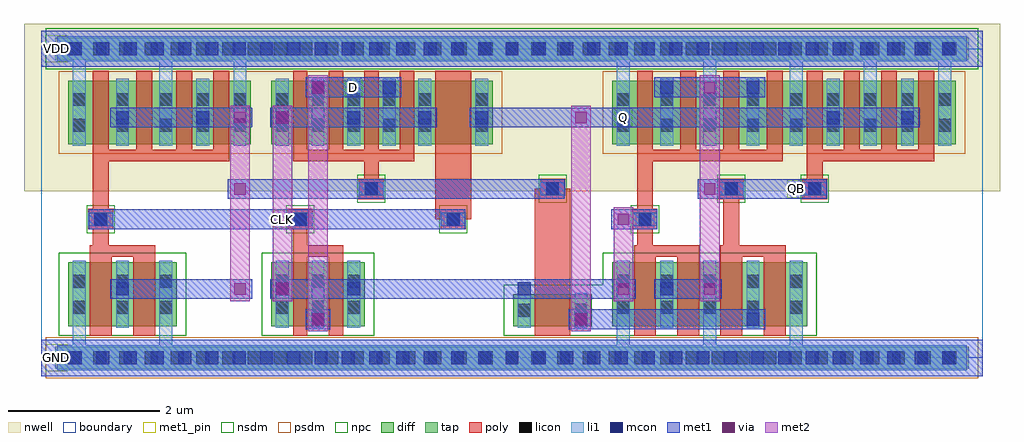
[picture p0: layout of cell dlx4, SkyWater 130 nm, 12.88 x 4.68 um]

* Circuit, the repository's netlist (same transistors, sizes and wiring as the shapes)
** sch_path: /foss/designs/dlx4.sch
.subckt dlx4 D VDD GND CLK QB Q
*.PININFO D:I VDD:B GND:B CLK:I QB:O Q:O
XM1 D CLKB net1 VDD sky130_fd_pr__pfet_01v8 L=0.19 W=3.36 nf=4
XM2 D CLK net1 GND sky130_fd_pr__nfet_01v8 L=0.19 W=1.68 nf=2
XM3 CLKB CLK VDD VDD sky130_fd_pr__pfet_01v8 L=0.21 W=3.36 nf=4
XM4 CLKB CLK GND GND sky130_fd_pr__nfet_01v8 L=0.29 W=1.68 nf=2
XM9 QB net1 VDD VDD sky130_fd_pr__pfet_01v8 L=0.21 W=3.36 nf=4
XM8 QB net1 GND GND sky130_fd_pr__nfet_01v8 L=0.29 W=1.68 nf=2
XM5 Q QB VDD VDD sky130_fd_pr__pfet_01v8 L=0.21 W=3.36 nf=4
XM6 Q QB GND GND sky130_fd_pr__nfet_01v8 L=0.29 W=1.68 nf=2
XM7 net1 CLK Q VDD sky130_fd_pr__pfet_01v8 L=0.47 W=0.84 nf=1
XM10 net1 CLKB Q GND sky130_fd_pr__nfet_01v8 L=0.47 W=0.42 nf=1
.ends

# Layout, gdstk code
import gdstk
lib = gdstk.Library(unit=1e-6, precision=1e-09)
def R(c, l, rs):  # rectangles x0, y0, x1, y1
    for r in rs: c.add(gdstk.rectangle(r[:2], r[2:], *l))
def A(c, l, x, y, w, h, nx, ny, dx, dy):  # array of equal rectangles
    R(c, l, [(x+i*dx, y+j*dy, x+i*dx+w, y+j*dy+h) for i in range(nx) for j in range(ny)])
nwell = (64, 20)
diff = (65, 20)
tap = (65, 44)
poly = (66, 20)
licon = (66, 44)
li1 = (67, 20)
mcon = (67, 44)
met1_pin = (68, 16)
met1 = (68, 20)
via = (68, 44)
met2 = (69, 20)
nsdm = (93, 44)
psdm = (94, 20)
npc = (95, 20)
boundary = (235, 4)

dlx4 = lib.new_cell('dlx4')
R(dlx4, nwell, [(-0.23,2.2,12.65,4.41)])
R(dlx4, diff, [(0.355,0.42,1.785,1.26), (3.035,0.42,4.265,1.26), (6.225,0.42,7.265,0.84), (7.535,0.42,10.105,1.26), (0.355,2.82,2.765,3.66), (3.035,2.82,5.955,3.66), (7.535,2.82,12.065,3.66)])
R(dlx4, tap, [(0.18,-0.145,12.24,0.145), (0.18,3.935,12.24,4.225)])
A(dlx4, poly, 7.82, 0.29, 0.29, 1.045, 4, 1, 0.57, 0)
A(dlx4, poly, 3.32, 2.745, 0.19, 1.045, 4, 1, 0.47, 0)
A(dlx4, poly, 7.86, 2.745, 0.21, 1.045, 4, 1, 0.57, 0)
A(dlx4, poly, 10.1, 2.745, 0.21, 1.045, 4, 1, 0.49, 0)
R(dlx4, poly, [(0.64,0.29,0.93,1.335), (1.21,0.29,1.5,1.335), (3.32,0.29,3.51,1.335), (3.79,0.29,3.98,1.335), (6.51,0.29,6.98,2.23), (0.64,1.335,1.5,1.485), (3.32,1.335,3.98,1.485), (7.82,1.335,8.68,1.485), (8.96,1.335,9.82,1.485), (0.68,1.485,0.89,1.695), (3.32,1.485,3.51,1.695), (7.86,1.485,8.07,1.695), (9,1.485,9.21,2.095), (0.62,1.695,0.95,1.965), (3.25,1.695,3.58,1.965), (5.27,1.695,5.6,1.83), (7.8,1.695,8.13,1.965), (5.2,1.83,5.67,3.79), (0.68,1.965,0.89,2.595), (7.86,1.965,8.07,2.595), (4.19,2.095,4.52,2.365), (8.94,2.095,9.27,2.365), (10.04,2.095,10.37,2.365), (6.58,2.23,6.91,2.365), (4.26,2.365,4.45,2.595), (10.1,2.365,10.31,2.595), (0.68,2.595,2.48,2.745), (3.32,2.595,4.92,2.745), (7.86,2.595,9.78,2.745), (10.1,2.595,11.78,2.745), (0.68,2.745,0.89,3.79), (1.25,2.745,1.46,3.79), (1.78,2.745,1.99,3.79), (2.27,2.745,2.48,3.79)])
A(dlx4, licon, 0.345, -0.085, 0.17, 0.17, 35, 2, 0.34, 4.08)
A(dlx4, licon, 0.415, 0.585, 0.17, 0.17, 3, 2, 0.57, 0.34)
A(dlx4, licon, 3.095, 0.585, 0.17, 0.17, 3, 2, 0.47, 0.34)
A(dlx4, licon, 7.595, 0.585, 0.17, 0.17, 5, 2, 0.57, 0.34)
A(dlx4, licon, 0.415, 2.985, 0.17, 0.17, 3, 2, 0.57, 0.34)
A(dlx4, licon, 3.095, 2.985, 0.17, 0.17, 5, 2, 0.47, 0.34)
A(dlx4, licon, 7.595, 2.985, 0.17, 0.17, 5, 2, 0.57, 0.34)
A(dlx4, licon, 10.365, 2.985, 0.17, 0.17, 4, 2, 0.49, 0.34)
R(dlx4, licon, [(6.285,0.545,6.455,0.715), (7.035,0.545,7.205,0.715), (0.7,1.745,0.87,1.915), (3.33,1.745,3.5,1.915), (5.35,1.745,5.52,1.915), (7.88,1.745,8.05,1.915), (4.27,2.145,4.44,2.315), (6.66,2.145,6.83,2.315), (9.02,2.145,9.19,2.315), (10.12,2.145,10.29,2.315), (2.045,2.985,2.215,3.155), (2.535,2.985,2.705,3.155), (5.725,2.985,5.895,3.155), (2.045,3.325,2.215,3.495), (2.535,3.325,2.705,3.495), (5.725,3.325,5.895,3.495)])
A(dlx4, li1, 7.595, 0.165, 0.17, 1.115, 3, 2, 1.14, 2.635)
A(dlx4, li1, 3.095, 0.4, 0.17, 0.88, 3, 1, 0.47, 0)
A(dlx4, li1, 3.095, 2.8, 0.17, 0.88, 5, 1, 0.47, 0)
R(dlx4, li1, [(0.21,-0.165,12.21,0.165), (0.415,0.165,0.585,1.28), (1.555,0.165,1.725,1.28), (0.985,0.4,1.155,1.28), (6.285,0.4,6.455,0.995), (7.035,0.4,7.205,0.86), (8.165,0.4,8.335,1.28), (9.305,0.4,9.475,1.28), (0.62,1.745,0.95,1.915), (3.25,1.745,3.58,1.915), (5.27,1.745,5.6,1.915), (7.8,1.745,8.13,1.915), (4.19,2.145,4.52,2.315), (6.58,2.145,6.91,2.315), (8.94,2.145,9.27,2.315), (10.04,2.145,10.37,2.315), (0.415,2.8,0.585,3.915), (0.985,2.8,1.155,3.68), (1.555,2.8,1.725,3.915), (2.045,2.8,2.215,3.68), (2.535,2.8,2.705,3.915), (5.725,2.8,5.895,3.68), (8.165,2.8,8.335,3.68), (9.305,2.8,9.475,3.68), (10.365,2.8,10.535,3.68), (10.855,2.8,11.025,3.915), (11.345,2.8,11.515,3.68), (11.835,2.8,12.005,3.915), (0.21,3.915,12.21,4.245)])
A(dlx4, mcon, 0.365, -0.085, 0.17, 0.17, 33, 2, 0.36, 4.08)
A(dlx4, mcon, 3.095, 3.085, 0.17, 0.17, 3, 1, 0.94, 0)
R(dlx4, mcon, [(3.565,0.425,3.735,0.595), (7.035,0.425,7.205,0.595), (9.305,0.425,9.475,0.595), (0.985,0.825,1.155,0.995), (3.095,0.825,3.265,0.995), (4.035,0.825,4.205,0.995), (6.285,0.825,6.455,0.995), (8.165,0.825,8.335,0.995), (0.7,1.745,0.87,1.915), (3.33,1.745,3.5,1.915), (5.35,1.745,5.52,1.915), (7.88,1.745,8.05,1.915), (4.27,2.145,4.44,2.315), (6.66,2.145,6.83,2.315), (9.02,2.145,9.19,2.315), (10.12,2.145,10.29,2.315), (0.985,3.085,1.155,3.255), (2.045,3.085,2.215,3.255), (5.725,3.085,5.895,3.255), (10.365,3.085,10.535,3.255), (11.345,3.085,11.515,3.255), (3.565,3.485,3.735,3.655), (4.505,3.485,4.675,3.655), (8.165,3.485,8.335,3.655), (9.305,3.485,9.475,3.655)])
R(dlx4, met1_pin, [(0.05,-0.18,0.35,0.18), (3.065,1.715,3.295,1.945), (9.845,2.115,10.075,2.345), (7.565,3.055,7.795,3.285), (4.005,3.455,4.235,3.685), (0.05,3.9,0.35,4.26)])
R(dlx4, met1, [(0,-0.24,12.42,0.24), (3.49,0.38,3.81,0.64), (6.96,0.38,9.55,0.64), (0.91,0.78,2.78,1.04), (3.02,0.78,7.84,1.04), (8.09,0.78,8.98,1.04), (0.625,1.7,5.595,1.96), (7.52,1.7,8.125,1.96), (2.46,2.1,6.905,2.36), (8.66,2.1,10.365,2.36), (0.91,3.04,2.78,3.3), (3.02,3.04,5.22,3.3), (5.65,3.04,11.59,3.3), (3.49,3.44,4.75,3.7), (8.09,3.44,9.55,3.7), (0,3.84,12.42,4.32)])
R(dlx4, via, [(3.575,0.435,3.725,0.585), (7.045,0.435,7.195,0.585), (2.545,0.835,2.695,0.985), (3.105,0.835,3.255,0.985), (7.605,0.835,7.755,0.985), (8.745,0.835,8.895,0.985), (7.605,1.755,7.755,1.905), (2.545,2.155,2.695,2.305), (8.745,2.155,8.895,2.305), (2.545,3.095,2.695,3.245), (3.105,3.095,3.255,3.245), (7.045,3.095,7.195,3.245), (3.575,3.495,3.725,3.645), (8.745,3.495,8.895,3.645)])
R(dlx4, met2, [(3.52,0.35,3.78,3.73), (6.99,0.35,7.25,3.33), (2.49,0.75,2.75,3.33), (3.05,0.75,3.31,3.33), (7.55,0.75,7.81,1.99), (8.69,0.75,8.95,3.73)])
R(dlx4, nsdm, [(0.23,0.295,1.91,1.385), (2.91,0.295,4.39,1.385), (6.1,0.295,10.23,0.965), (7.41,0.965,10.23,1.385), (0.055,3.81,12.365,4.35)])
R(dlx4, psdm, [(0.055,-0.27,12.365,0.27), (0.23,2.695,6.08,3.785), (7.41,2.695,12.19,3.785)])
R(dlx4, npc, [(0.6,1.645,0.97,2.015), (3.23,1.645,3.6,2.015), (5.25,1.645,5.62,2.015), (7.78,1.645,8.15,2.015), (4.17,2.045,4.54,2.415), (6.56,2.045,6.93,2.415), (8.92,2.045,9.29,2.415), (10.02,2.045,10.39,2.415)])
R(dlx4, boundary, [(0,0,12.42,4.08)])
dlx4.add(gdstk.Label('D', (4.12,3.57), layer=68, texttype=5))
dlx4.add(gdstk.Label('VDD', (0.2,4.08), layer=68, texttype=5))
dlx4.add(gdstk.Label('GND', (0.2,0), layer=68, texttype=5))
dlx4.add(gdstk.Label('CLK', (3.18,1.83), layer=68, texttype=5))
dlx4.add(gdstk.Label('QB', (9.96,2.23), layer=68, texttype=5))
dlx4.add(gdstk.Label('Q', (7.68,3.17), layer=68, texttype=5))

lib.write_gds('dlx4.gds')
